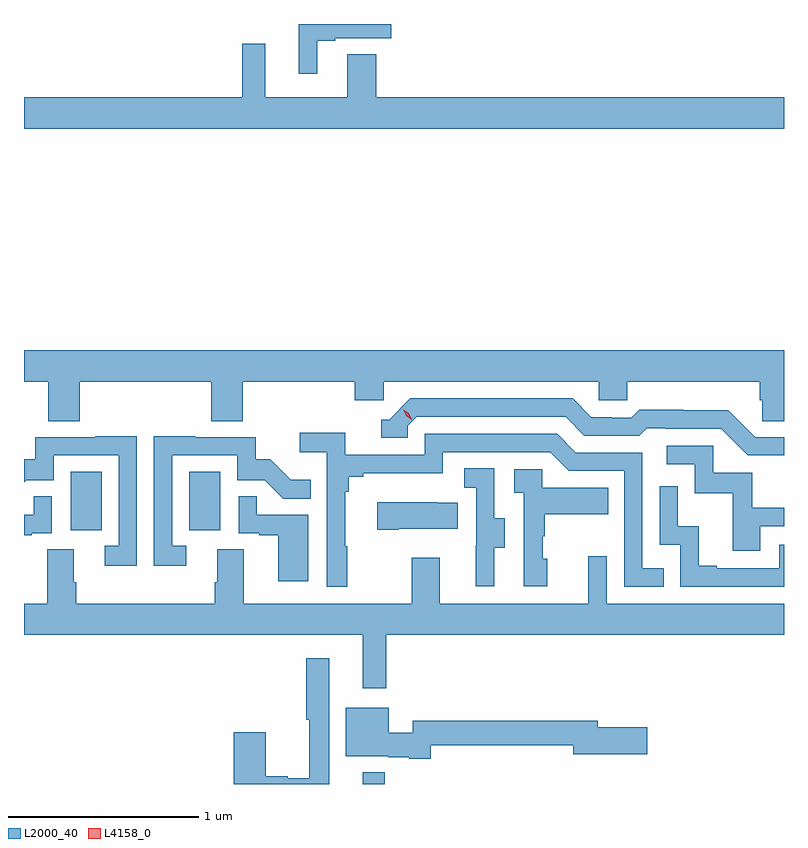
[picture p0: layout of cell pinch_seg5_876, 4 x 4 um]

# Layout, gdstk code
import gdstk
lib = gdstk.Library(unit=1e-6, precision=1e-09)
def R(c, l, rs):  # rectangles x0, y0, x1, y1
    for r in rs: c.add(gdstk.rectangle(r[:2], r[2:], *l))
def P(c, l, *ps):  # polygons
    for p in ps: c.add(gdstk.Polygon(p, *l))
L2000_40 = (2000, 40)
L4158_0 = (4158, 0)

pinch_seg5_876 = lib.new_cell('pinch_seg5_876')
R(pinch_seg5_876, L2000_40, [(863.315,877.286,863.43,877.348), (861.776,878.622,861.94,878.929), (862.4,878.622,862.564,878.929)])
P(pinch_seg5_876, L2000_40, [(863.074,881.199),(863.17,881.199),(863.17,881.211),(863.465,881.211),(863.465,881.286),(862.976,881.286),(862.976,881.025),(863.074,881.025)],
  [(865.531,880.9),(863.384,880.9),(863.384,881.126),(863.231,881.126),(863.231,880.9),(862.801,880.9),(862.801,881.182),(862.68,881.182),(862.68,880.9),(861.531,880.9),(861.531,880.736),(865.531,880.736)],
  [(861.824,879.404),(862.517,879.404),(862.517,879.196),(862.682,879.196),(862.682,879.404),(863.273,879.404),(863.273,879.306),(863.424,879.306),(863.424,879.404),(864.555,879.404),(864.555,879.306),(864.705,879.306),(864.705,879.404),(865.403,879.404),(865.403,879.306),(865.417,879.306),(865.417,879.196),(865.531,879.196),(865.531,879.568),(861.531,879.568),(861.531,879.404),(861.659,879.404),(861.659,879.196),(861.824,879.196)],
  [(865.531,879.111),(865.38,879.111),(865.238,879.253),(865.002,879.253),(865.002,879.256),(864.769,879.256),(864.727,879.213),(864.624,879.213),(864.624,879.216),(864.517,879.216),(864.418,879.315),(863.565,879.315),(863.454,879.204),(863.411,879.204),(863.411,879.108),(863.55,879.108),(863.55,879.171),(863.598,879.219),(864.381,879.219),(864.48,879.12),(864.769,879.12),(864.808,879.159),(864.907,879.159),(864.907,879.156),(865.2,879.156),(865.341,879.015),(865.531,879.015)],
  [(863.233,878.537),(863.221,878.537),(863.221,878.825),(863.24,878.825),(863.24,878.902),(863.317,878.902),(863.317,878.921),(863.736,878.921),(863.736,879.033),(864.3,879.033),(864.399,878.934),(864.69,878.934),(864.69,878.325),(864.899,878.325),(864.899,878.421),(864.786,878.421),(864.786,879.03),(864.436,879.03),(864.337,879.129),(863.64,879.129),(863.64,879.018),(863.222,879.018),(863.222,879.134),(862.983,879.134),(862.983,879.032),(863.124,879.032),(863.124,878.325),(863.233,878.325)],
  [(862.384,878.541),(862.311,878.541),(862.311,879.015),(862.653,879.015),(862.653,878.886),(862.797,878.886),(862.895,878.788),(863.039,878.788),(863.039,878.887),(862.935,878.887),(862.828,878.994),(862.752,878.994),(862.752,879.111),(862.433,879.111),(862.433,879.116),(862.215,879.116),(862.215,878.436),(862.384,878.436)],
  [(862.125,879.116),(861.907,879.116),(861.907,879.111),(861.589,879.111),(861.589,878.994),(861.531,878.994),(861.531,878.874),(861.543,878.886),(861.687,878.886),(861.687,879.015),(862.029,879.015),(862.029,878.541),(861.957,878.541),(861.957,878.436),(862.125,878.436)],
  [(865.405,878.643),(865.531,878.643),(865.531,878.739),(865.363,878.739),(865.363,878.925),(865.158,878.925),(865.158,879.066),(864.915,879.066),(864.915,878.97),(865.062,878.97),(865.062,878.817),(865.261,878.817),(865.261,878.514),(865.405,878.514)],
  [(864.007,878.53),(864.061,878.53),(864.061,878.685),(864.006,878.685),(864.006,878.948),(863.847,878.948),(863.847,878.845),(863.91,878.845),(863.91,878.541),(863.909,878.541),(863.909,878.328),(864.007,878.328)],
  [(864.286,878.472),(864.261,878.472),(864.261,878.591),(864.271,878.591),(864.271,878.705),(864.605,878.705),(864.605,878.845),(864.258,878.845),(864.258,878.943),(864.111,878.943),(864.111,878.819),(864.162,878.819),(864.162,878.328),(864.286,878.328)],
  [(865.531,878.544),(865.506,878.544),(865.506,878.421),(865.177,878.421),(865.177,878.434),(865.082,878.434),(865.082,878.642),(864.972,878.642),(864.972,878.854),(864.876,878.854),(864.876,878.544),(864.984,878.544),(864.984,878.325),(865.531,878.325)],
  [(863.026,878.703),(862.757,878.703),(862.757,878.801),(862.662,878.801),(862.662,878.607),(862.769,878.607),(862.769,878.595),(862.868,878.595),(862.868,878.352),(863.026,878.352)],
  [(861.572,878.607),(861.678,878.607),(861.678,878.801),(861.583,878.801),(861.583,878.703),(861.531,878.703),(861.531,878.595),(861.572,878.595)],
  [(863.503,878.63),(863.813,878.63),(863.813,878.767),(863.705,878.767),(863.705,878.77),(863.391,878.77),(863.391,878.623),(863.503,878.623)],
  [(863.437,878.072),(865.531,878.072),(865.531,878.236),(864.597,878.236),(864.597,878.485),(864.5,878.485),(864.5,878.236),(863.719,878.236),(863.719,878.476),(863.572,878.476),(863.572,878.236),(862.687,878.236),(862.687,878.522),(862.547,878.522),(862.547,878.348),(862.535,878.348),(862.535,878.236),(861.806,878.236),(861.806,878.348),(861.793,878.348),(861.793,878.522),(861.653,878.522),(861.653,878.236),(861.531,878.236),(861.531,878.072),(863.315,878.072),(863.315,877.791),(863.437,877.791)],
  [(863.137,877.948),(863.016,877.948),(863.016,877.623),(863.033,877.623),(863.033,877.315),(862.919,877.315),(862.919,877.328),(862.804,877.328),(862.804,877.558),(862.634,877.558),(862.634,877.286),(863.137,877.286)],
  [(863.673,877.489),(864.422,877.489),(864.422,877.442),(864.811,877.442),(864.811,877.584),(864.55,877.584),(864.55,877.618),(863.577,877.618),(863.577,877.556),(863.452,877.556),(863.452,877.687),(863.225,877.687),(863.225,877.433),(863.448,877.433),(863.448,877.427),(863.559,877.427),(863.559,877.42),(863.673,877.42)])
P(pinch_seg5_876, L4158_0, [(863.573,879.204),(863.542,879.223),(863.526,879.256),(863.526,879.256),(863.526,879.256),(863.557,879.237),(863.573,879.204),(863.573,879.204)])

lib.write_gds('pinch_seg5_876.gds')
